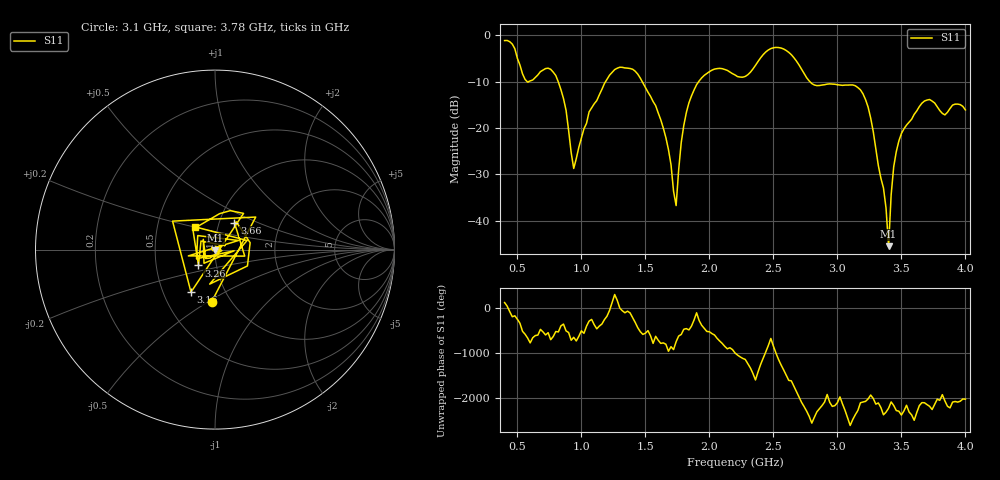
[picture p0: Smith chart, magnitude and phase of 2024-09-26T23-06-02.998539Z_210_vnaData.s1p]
!Created with skrf (http://scikit-rf.org).
# Hz S RI R 50.0
!freq ReS11 ImS11
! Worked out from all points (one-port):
!   181 points, 400 MHz to 4 GHz, reference 50 ohm
!   lowest |S11| = -45.5 dB at 3.4 GHz (marker M1), VSWR 1.01, Z = 50.2 - j0.497 ohm
!   |S11| at or under -10 dB: 818.4 MHz to 1.189 GHz (370.8 MHz wide, 36.9 % of centre); 1.475 GHz to 1.917 GHz (442.2 MHz wide, 26.1 % of centre); 2.784 GHz to end of sweep (the widest 3 of 4)
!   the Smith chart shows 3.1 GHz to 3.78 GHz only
!   S11 on the Smith chart (normalised r, x): 3.1 GHz: 0.82, -0.52; 3.16 GHz: 0.69, -0.35; 3.26 GHz: 0.82, -0.15; 3.66 GHz: 1.18, +0.37; 3.78 GHz: 0.78, +0.20
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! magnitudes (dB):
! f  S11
! 400 MHz  -1.2
! 580 MHz  -10.1
! 760 MHz  -7.4
! 860 MHz  -13.7
! 940 MHz  -28.8
! 1.06 GHz  -16.6
! 1.3 GHz  -6.9
! 1.42 GHz  -7.8
! 1.58 GHz  -15.2
! 1.68 GHz  -24.7
! 1.74 GHz  -36.8
! 1.76 GHz  -29.0
! 1.82 GHz  -16.7
! 1.9 GHz  -10.7
! 2.2 GHz  -8.6
! 2.5 GHz  -2.7
! 2.66 GHz  -4.9
! 2.82 GHz  -10.7
! 3.1 GHz  -10.7
! 3.16 GHz  -11.3
! 3.26 GHz  -17.9
! 3.36 GHz  -33.0
! 3.4 GHz  -45.5
! 3.44 GHz  -28.4
! 3.56 GHz  -18.8
! 3.66 GHz  -14.7
! 3.78 GHz  -15.5
! 4 GHz  -16.1
